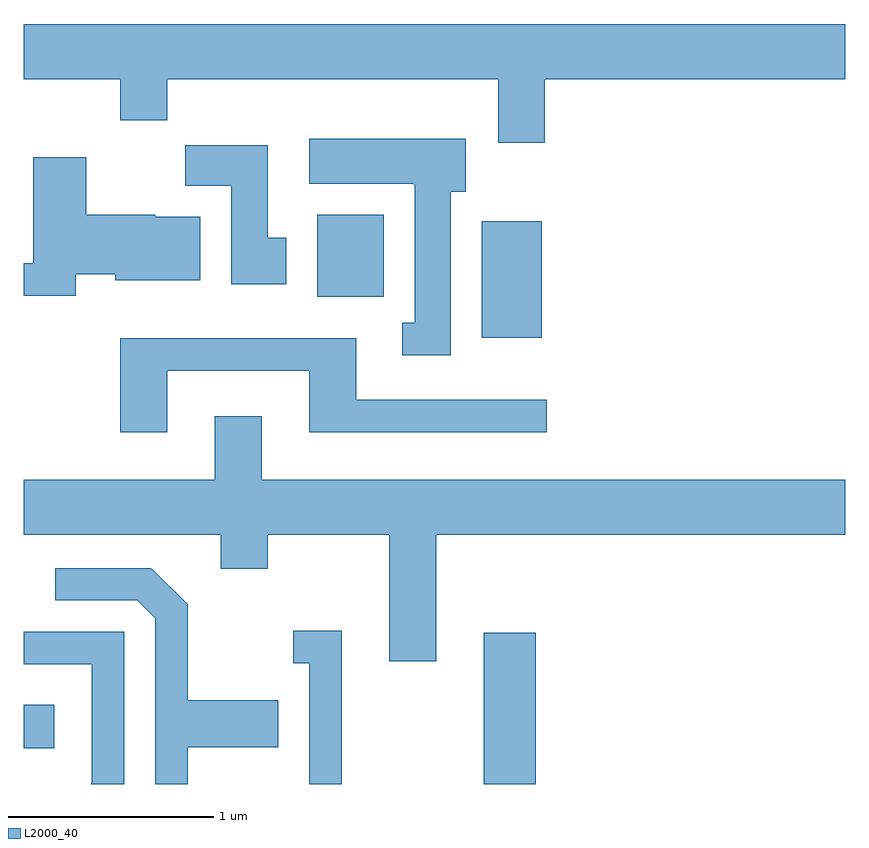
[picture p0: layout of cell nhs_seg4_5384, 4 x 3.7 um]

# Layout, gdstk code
import gdstk
lib = gdstk.Library(unit=1e-6, precision=1e-09)
def R(c, l, rs):  # rectangles x0, y0, x1, y1
    for r in rs: c.add(gdstk.rectangle(r[:2], r[2:], *l))
def P(c, l, *ps):  # polygons
    for p in ps: c.add(gdstk.Polygon(p, *l))
L2000_40 = (2000, 40)

nhs_seg4_5384 = lib.new_cell('nhs_seg4_5384')
R(nhs_seg4_5384, L2000_40, [(345.851,1277.982,346.104,1278.719), (343.611,1278.156,343.759,1278.369), (345.841,1280.156,346.134,1280.724), (345.041,1280.356,345.364,1280.754)])
P(nhs_seg4_5384, L2000_40, [(346.149,1281.416),(347.611,1281.416),(347.611,1281.684),(343.611,1281.684),(343.611,1281.416),(344.081,1281.416),(344.081,1281.216),(344.309,1281.216),(344.309,1281.416),(345.921,1281.416),(345.921,1281.106),(346.149,1281.106)],
  [(345.689,1280.866),(345.764,1280.866),(345.764,1281.124),(345.001,1281.124),(345.001,1280.906),(345.51,1280.906),(345.51,1280.9),(345.516,1280.9),(345.516,1280.229),(345.453,1280.229),(345.453,1280.071),(345.689,1280.071)],
  [(344.889,1280.644),(344.799,1280.644),(344.799,1281.094),(344.396,1281.094),(344.396,1280.896),(344.621,1280.896),(344.621,1280.416),(344.889,1280.416)],
  [(343.864,1280.466),(344.056,1280.466),(344.056,1280.436),(344.469,1280.436),(344.469,1280.744),(344.25,1280.744),(344.25,1280.754),(343.914,1280.754),(343.914,1281.034),(343.656,1281.034),(343.656,1280.519),(343.611,1280.519),(343.611,1280.361),(343.864,1280.361)],
  [(344.309,1279.996),(345.001,1279.996),(345.001,1279.696),(346.158,1279.696),(346.158,1279.854),(345.229,1279.854),(345.229,1280.154),(344.081,1280.154),(344.081,1279.696),(344.309,1279.696)],
  [(345.619,1279.196),(347.611,1279.196),(347.611,1279.464),(344.769,1279.464),(344.769,1279.774),(344.541,1279.774),(344.541,1279.464),(343.611,1279.464),(343.611,1279.196),(344.571,1279.196),(344.571,1279.031),(344.799,1279.031),(344.799,1279.196),(345.391,1279.196),(345.391,1278.581),(345.619,1278.581)],
  [(344.409,1278.161),(344.849,1278.161),(344.849,1278.389),(344.409,1278.389),(344.409,1278.857),(344.232,1279.034),(343.763,1279.034),(343.763,1278.876),(344.164,1278.876),(344.251,1278.789),(344.251,1277.982),(344.409,1277.982)],
  [(345.159,1278.729),(344.923,1278.729),(344.923,1278.571),(345.001,1278.571),(345.001,1277.982),(345.159,1277.982)],
  [(344.099,1278.724),(343.611,1278.724),(343.611,1278.566),(343.941,1278.566),(343.941,1277.987),(343.936,1277.982),(344.099,1277.982)])

lib.write_gds('nhs_seg4_5384.gds')
